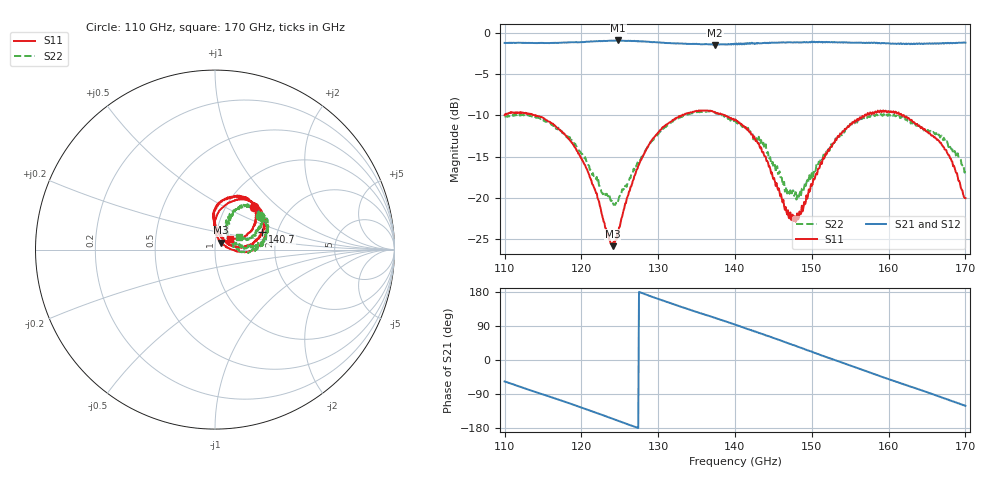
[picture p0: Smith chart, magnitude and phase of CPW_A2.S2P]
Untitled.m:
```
clc;
clear all;
close all;

FILE_PATH = 'C:\Users\osama\OneDrive - Georgia Institute of Technology\Frequency Extrapolation\18_third_application\Data\';

file_S11 = open([FILE_PATH, 'CPW_A2.S2P']);
file_S21 = open([FILE_PATH, 'CPW_A6.S2P']);
file_S12 = open([FILE_PATH, 'CPW_b2.S2P']);
file_S22 = open([FILE_PATH, 'CPW_b6.S2P']);
```
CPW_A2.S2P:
!  2-Port S-parameters saved by WinCal
! VAR NAME=CPW_A2
! VAR FILENAME=CPW_A2.S2P
! VAR DATE=10/12/2019 16:28:33
! VAR PHYS_PORTS=1,2
! VAR ObjTypeName=DATASET
! VAR IndexType=Frequency
# Hz S RI R 50
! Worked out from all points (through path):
!   601 points, 110 GHz to 170 GHz, reference 50 ohm
!   highest |S21| = -0.90 dB at 124.8 GHz (marker M1); lowest = -1.4 dB at 137.4 GHz (marker M2)
!   group delay of S21, straight-line fit = 19.7 ps
!   lowest |S11| = -25.9 dB at 124.1 GHz (marker M3), VSWR 1.11, Z = 53.3 + j4.07 ohm
!   |S11| at or under -10 dB: 114.1 GHz to 133.1 GHz (19.01 GHz wide, 15.4 % of centre); 138.7 GHz to 156.9 GHz (18.14 GHz wide, 12.3 % of centre); 162 GHz to end of sweep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
!   |S22| runs from -20.9 to -9.4 dB; largest |S21 - S12| = 0.028
!   S11 on the Smith chart (normalised r, x): 110 GHz: 1.34, +0.70; 140.7 GHz: 1.67, +0.35; 170 GHz: 1.17, +0.14
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1.1e11  0.2149 0.2348  0.4789 -0.7284  0.49 -0.7213  0.2487 0.1864
1.185e11  0.2236 0.00328  -0.3671 -0.7968  -0.3556 -0.8017  0.2334 -0.000407
1.241e11  0.0338 0.0381  -0.817 -0.3737  -0.8084 -0.3959  0.0807 0.0465
1.248e11  0.0188 0.0578  -0.8508 -0.2995  -0.842 -0.3201  0.0716 0.0648
1.374e11  0.2642 0.1969  -0.309 0.7895  -0.3224 0.7896  0.2948 0.1516
1.4e11  0.2728 0.1215  -0.0489 0.8559  -0.0561 0.8576  0.2821 0.0757
1.407e11  0.2631 0.0962  0.017 0.8628  0.00744 0.8611  0.268 0.0513
1.477e11  0.0506 0.0522  0.6858 0.5512  0.6797 0.5584  0.0825 0.0614
1.541e11  0.0217 0.2516  0.8663 -0.1208  0.8719 -0.1052  0.118 0.2253
1.624e11  0.2314 0.2022  0.3352 -0.7887  0.3504 -0.7872  0.2636 0.1466
1.7e11  0.0808 0.0581  -0.4527 -0.7481  -0.4506 -0.7489  0.1348 0.068
